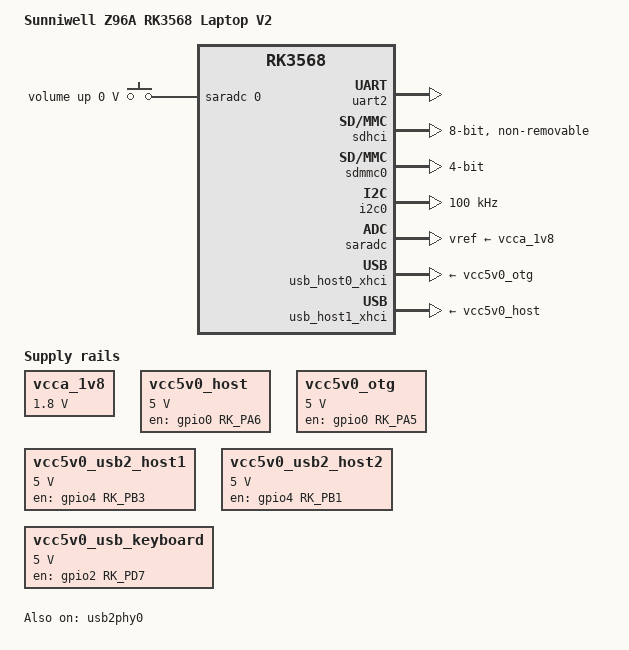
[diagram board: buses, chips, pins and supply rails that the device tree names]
// SPDX-License-Identifier: (GPL-2.0+ OR MIT)
/*
 * Sunniwell Z96A RK3568 Laptop V2 — U-Boot DT
 * Recovery/download key from FACTORY U-Boot DTB (z96a-extract/factory.dts):
 *   adc-keys ch0, label "volume up", press-threshold-microvolt = <0x09>
 * Android kernel DTB has the same ladder but status=disabled (runtime keys
 * unused); reboot-mode recovery is a separate syscon path (0x5242c303).
 * Case silkscreen "Recovery" == this volume-up ADC key -> Rockchip download,
 * NOT Android /recovery partition by itself.
 */

/dts-v1/;

#include <dt-bindings/gpio/gpio.h>
#include <dt-bindings/input/input.h>
#include <dt-bindings/pinctrl/rockchip.h>
#include "rk3568.dtsi"

/ {
	model = "Sunniwell Z96A RK3568 Laptop V2";
	compatible = "sunniwell,z96a-rk3568-laptop-v2", "rockchip,rk3568";

	aliases {
		mmc0 = &sdhci;
		mmc1 = &sdmmc0;
		serial2 = &uart2;
		i2c0 = &i2c0;
	};

	chosen {
		stdout-path = "serial2:1500000n8";
	};

	/* SARADC VREF — Android/factory kernel use vcca 1.8V; factory U-Boot
	 * extract omitted vref-supply but mainline rockchip_saradc needs it. */
	vcca_1v8: regulator-vcca-1v8 {
		compatible = "regulator-fixed";
		regulator-name = "vcca_1v8";
		regulator-always-on;
		regulator-boot-on;
		regulator-min-microvolt = <1800000>;
		regulator-max-microvolt = <1800000>;
		bootph-all;
	};

	/* Factory U-Boot: only volume-up on ch0, threshold 0x09 (9 uV) */
	adc-keys {
		compatible = "adc-keys";
		io-channels = <&saradc 0>;
		io-channel-names = "buttons";
		keyup-threshold-microvolt = <1800000>;
		status = "okay";
		bootph-all;

		volumeup-key {
			label = "volume up";
			linux,code = <KEY_VOLUMEUP>;
			/* factory.dts: press-threshold-microvolt = <0x09> */
			press-threshold-microvolt = <9>;
			bootph-all;
		};
	};
};

&uart2 {
	pinctrl-0 = <&uart2m0_xfer>;
	status = "okay";
};

&sdhci {
	bus-width = <8>;
	cap-mmc-highspeed;
	mmc-hs200-1_8v;
	non-removable;
	status = "okay";
};

&sdmmc0 {
	bus-width = <4>;
	cap-sd-highspeed;
	disable-wp;
	status = "okay";
};

&i2c0 {
	status = "okay";
	clock-frequency = <100000>;
};

&saradc {
	vref-supply = <&vcca_1v8>;
	status = "okay";
	bootph-all;
};

&usb_host0_xhci {
	status = "okay";
};

&usb_host1_xhci {
	status = "okay";
};

&usb2phy0 {
	status = "okay";
};
/* ---- z96a-pwrfix: USB VBUS rails, aligned to factory DT ---- */
/ {
	vcc5v0_host: regulator-vcc5v0-host {
		compatible = "regulator-fixed";
		regulator-name = "vcc5v0_host";
		regulator-min-microvolt = <5000000>;
		regulator-max-microvolt = <5000000>;
		enable-active-high;
		gpio = <&gpio0 RK_PA6 GPIO_ACTIVE_HIGH>;
		pinctrl-names = "default";
		pinctrl-0 = <&z96a_vcc5v0_host_en>;
		regulator-always-on;
		regulator-boot-on;
	};

	vcc5v0_otg: regulator-vcc5v0-otg {
		compatible = "regulator-fixed";
		regulator-name = "vcc5v0_otg";
		regulator-min-microvolt = <5000000>;
		regulator-max-microvolt = <5000000>;
		enable-active-high;
		gpio = <&gpio0 RK_PA5 GPIO_ACTIVE_HIGH>;
		pinctrl-names = "default";
		pinctrl-0 = <&z96a_vcc5v0_otg_en>;
	};

	vcc5v0_usb2_host1: regulator-vcc5v0-usb2-host1 {
		compatible = "regulator-fixed";
		regulator-name = "vcc5v0_usb2_host1";
		regulator-min-microvolt = <5000000>;
		regulator-max-microvolt = <5000000>;
		enable-active-high;
		gpio = <&gpio4 RK_PB3 GPIO_ACTIVE_HIGH>;
		pinctrl-names = "default";
		pinctrl-0 = <&z96a_vcc5v0_host1_en>;
		regulator-always-on;
		regulator-boot-on;
	};

	vcc5v0_usb2_host2: regulator-vcc5v0-usb2-host2 {
		compatible = "regulator-fixed";
		regulator-name = "vcc5v0_usb2_host2";
		regulator-min-microvolt = <5000000>;
		regulator-max-microvolt = <5000000>;
		enable-active-high;
		gpio = <&gpio4 RK_PB1 GPIO_ACTIVE_HIGH>;
		pinctrl-names = "default";
		pinctrl-0 = <&z96a_vcc5v0_host2_en>;
		regulator-always-on;
		regulator-boot-on;
	};

	vcc5v0_usb_keyboard: regulator-vcc5v0-usb-keyboard {
		compatible = "regulator-fixed";
		regulator-name = "vcc5v0_usb_keyboard";
		regulator-min-microvolt = <5000000>;
		regulator-max-microvolt = <5000000>;
		enable-active-high;
		gpio = <&gpio2 RK_PD7 GPIO_ACTIVE_HIGH>;
		pinctrl-names = "default";
		pinctrl-0 = <&z96a_keyboard_pwr>;
		regulator-always-on;
		regulator-boot-on;
	};
};

&pinctrl {
	z96a-usb-pwr {
		z96a_vcc5v0_host_en: z96a-vcc5v0-host-en {
			rockchip,pins = <0 RK_PA6 0 &pcfg_pull_none>;
		};

		z96a_vcc5v0_otg_en: z96a-vcc5v0-otg-en {
			rockchip,pins = <0 RK_PA5 0 &pcfg_pull_none>;
		};

		z96a_vcc5v0_host1_en: z96a-vcc5v0-host1-en {
			rockchip,pins = <4 RK_PB3 0 &pcfg_pull_none>;
		};

		z96a_vcc5v0_host2_en: z96a-vcc5v0-host2-en {
			rockchip,pins = <4 RK_PB1 0 &pcfg_pull_none>;
		};

		z96a_keyboard_pwr: z96a-keyboard-pwr {
			rockchip,pins = <2 RK_PD7 0 &pcfg_pull_none>;
		};
	};
};

&usb_host0_xhci {
	vbus-supply = <&vcc5v0_otg>;
};

&usb_host1_xhci {
	vbus-supply = <&vcc5v0_host>;
};

